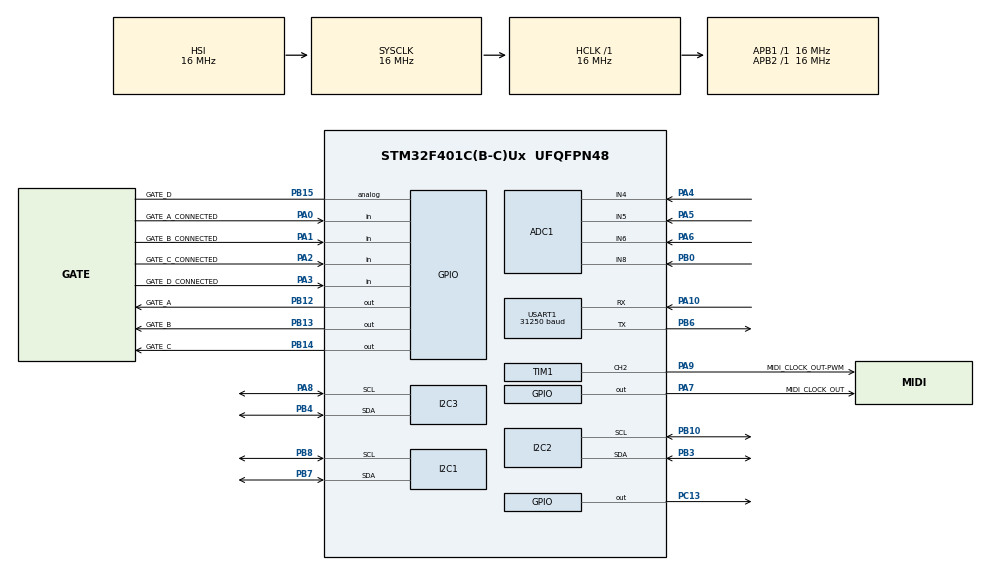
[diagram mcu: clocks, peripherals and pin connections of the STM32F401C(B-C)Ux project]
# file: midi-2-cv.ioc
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ADC1.Channel-1\#ChannelRegularConversion=ADC_CHANNEL_4
ADC1.NbrOfConversionFlag=1
ADC1.Rank-1\#ChannelRegularConversion=1
ADC1.SamplingTime-1\#ChannelRegularConversion=ADC_SAMPLETIME_3CYCLES
ADC1.master=1
Mcu.Family=STM32F4
Mcu.Name=STM32F401C(B-C)Ux
Mcu.Package=UFQFPN48
NVIC.PriorityGroup=NVIC_PRIORITYGROUP_4
NVIC.USART1_IRQn=true\:0\:0\:false\:false\:true\:true\:true\:true
PA0-WKUP.GPIO_Label=GATE_A_CONNECTED
PA0-WKUP.Signal=GPIO_Input
PA1.GPIO_Label=GATE_B_CONNECTED
PA1.Signal=GPIO_Input
PA10.Mode=Asynchronous
PA10.Signal=USART1_RX
PA13.Mode=Serial_Wire
PA13.Signal=SYS_JTMS-SWDIO
PA14.Mode=Serial_Wire
PA14.Signal=SYS_JTCK-SWCLK
PA2.GPIO_Label=GATE_C_CONNECTED
PA2.Signal=GPIO_Input
PA3.GPIO_Label=GATE_D_CONNECTED
PA3.Signal=GPIO_Input
PA4.Signal=ADCx_IN4
PA5.Signal=ADCx_IN5
PA6.Signal=ADCx_IN6
PA7.GPIO_Label=MIDI_CLOCK_OUT
PA7.Signal=GPIO_Output
PA8.Mode=I2C
PA8.Signal=I2C3_SCL
PA9.GPIO_Label=MIDI_CLOCK_OUT-PWM
PA9.Signal=S_TIM1_CH2
PB0.Signal=ADCx_IN8
PB10.Mode=I2C
PB10.Signal=I2C2_SCL
PB12.GPIO_Label=GATE_A
PB12.Signal=GPIO_Output
PB13.GPIO_Label=GATE_B
PB13.Signal=GPIO_Output
PB14.GPIO_Label=GATE_C
PB14.Signal=GPIO_Output
PB15.GPIO_Label=GATE_D
PB15.Signal=GPIO_Analog
PB3.Mode=I2C
PB3.Signal=I2C2_SDA
PB4.Mode=I2C
PB4.Signal=I2C3_SDA
PB6.Mode=Asynchronous
PB6.Signal=USART1_TX
PB7.Mode=I2C
PB7.Signal=I2C1_SDA
PB8.Mode=I2C
PB8.Signal=I2C1_SCL
PC13-ANTI_TAMP.Signal=GPIO_Output
ProjectManager.HeapSize=0x200
ProjectManager.StackSize=0x400
ProjectManager.TargetToolchain=STM32CubeIDE
RCC.AHBFreq_Value=16000000
RCC.APB1Freq_Value=16000000
RCC.APB2Freq_Value=16000000
RCC.CortexFreq_Value=16000000
RCC.HSE_VALUE=25000000
RCC.HSI_VALUE=16000000
RCC.LSE_VALUE=32768
RCC.SYSCLKFreq_VALUE=16000000
RCC.VCOOutputFreq_Value=192000000
SH.ADCx_IN4.0=ADC1_IN4,IN4
SH.ADCx_IN5.0=ADC1_IN5,IN5
SH.ADCx_IN6.0=ADC1_IN6,IN6
SH.ADCx_IN8.0=ADC1_IN8,IN8
SH.S_TIM1_CH2.0=TIM1_CH2,PWM Generation2 CH2
TIM1.Channel-PWM\ Generation2\ CH2=TIM_CHANNEL_2
USART1.BaudRate=31250
USART1.Mode=MODE_RX
USART1.VirtualMode=VM_ASYNC
board=custom

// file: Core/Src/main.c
/* USER CODE BEGIN Header */
/**
  ******************************************************************************
  * @file           : main.c
  * @brief          : Main program body
  ******************************************************************************
  * @attention
  *
  * Copyright (c) 2024 STMicroelectronics.
  * All rights reserved.
  *
  * This software is licensed under terms that can be found in the LICENSE file
  * in the root directory of this software component.
  * If no LICENSE file comes with this software, it is provided AS-IS.
  *
  ******************************************************************************
  */
/* USER CODE END Header */
#include <stdbool.h>
#include "main.h"

/* USER CODE BEGIN Includes */
#include "mcp4728.h"
#include "notes.h"
#include "midi.h"
/* USER CODE END Includes */

ADC_HandleTypeDef hadc1;

I2C_HandleTypeDef hi2c1;
I2C_HandleTypeDef hi2c2;
I2C_HandleTypeDef hi2c3;

TIM_HandleTypeDef htim1;

UART_HandleTypeDef huart1;

/* USER CODE BEGIN PV */

uint8_t midi_received_buf;

/* USER CODE END PV */

void SystemClock_Config(void);

static void MX_GPIO_Init(void);

static void MX_ADC1_Init(void);

static void MX_I2C1_Init(void);

static void MX_USART1_UART_Init(void);

static void MX_I2C2_Init(void);

static void MX_I2C3_Init(void);

static void MX_TIM1_Init(void);

/* USER CODE BEGIN 0 */

volatile bool dataRdyFlag = false;
volatile bool rxIntErrorFlag = false;

void sendTrigger(uint16_t gatePin, uint32_t gateLength) {
    HAL_GPIO_WritePin(GATE_A_GPIO_Port, gatePin, GPIO_PIN_SET);
    HAL_Delay(gateLength);
    HAL_GPIO_WritePin(GATE_A_GPIO_Port, gatePin, GPIO_PIN_RESET);
}

void setNoteValue(uint8_t octave, uint8_t note) {
    uint16_t value = (octave * OCT_VALUE) + (note * (OCT_VALUE / 12));
    MCP4728_Write_Voltage(&hi2c1, MCP4728_CHANNEL_A, value);
}

void stepGateA(uint8_t octave, uint8_t note, uint32_t gateLength) {
    setNoteValue(octave, note);
    sendTrigger(GATE_A_Pin, gateLength);
}

uint8_t Rx_data[10];  //  creating a buffer of 10 bytes

void HAL_UART_RxCpltCallback(UART_HandleTypeDef *huart)
{
    if(huart->Instance == huart1.Instance)
    {

        GPIOC->ODR |= GPIO_PIN_9;
        midi_push_buffer(&midi_received_buf);
        HAL_UART_Receive_IT(&huart1, &midi_received_buf,1);
    }
}

void HAL_UART_TxCpltCallback(UART_HandleTypeDef *huart){
    if(huart->Instance == USART1)
    {
    }
}

/* USER CODE END 0 */

int main(void) {

    /* MCU Configuration--------------------------------------------------------*/

    /* Reset of all peripherals, Initializes the Flash interface and the Systick. */
    HAL_Init();

    /* Configure the system clock */
    SystemClock_Config();

    /* Initialize all configured peripherals */
    MX_GPIO_Init();
    MX_ADC1_Init();
    MX_I2C1_Init();
    MX_USART1_UART_Init();
    MX_I2C2_Init();
    MX_I2C3_Init();
    MX_TIM1_Init();
    /* USER CODE BEGIN 2 */

    // CV output
    MCP4728_Init(&hi2c1);

    // VEL output
    MCP4728_Init(&hi2c2);

    // MOD output
    MCP4728_Init(&hi2c3);

    // ensure interrupt will be called on next receive
    HAL_UART_Receive_IT(&huart1, &midi_received_buf, 1);

    // Init systsm
    midi_init();

    /* USER CODE END 2 */

    /* Infinite loop */
    while (1) {

        /* USER CODE BEGIN 3 */

        midi_run();
    }
    /* USER CODE END 3 */
}

void SystemClock_Config(void) {
    RCC_OscInitTypeDef RCC_OscInitStruct = {0};
    RCC_ClkInitTypeDef RCC_ClkInitStruct = {0};

    /** Configure the main internal regulator output voltage
    */
    __HAL_RCC_PWR_CLK_ENABLE();
    __HAL_PWR_VOLTAGESCALING_CONFIG(PWR_REGULATOR_VOLTAGE_SCALE2);

    /** Initializes the RCC Oscillators according to the specified parameters
    * in the RCC_OscInitTypeDef structure.
    */
    RCC_OscInitStruct.OscillatorType = RCC_OSCILLATORTYPE_HSI;
    RCC_OscInitStruct.HSIState = RCC_HSI_ON;
    RCC_OscInitStruct.HSICalibrationValue = RCC_HSICALIBRATION_DEFAULT;
    RCC_OscInitStruct.PLL.PLLState = RCC_PLL_NONE;
    if (HAL_RCC_OscConfig(&RCC_OscInitStruct) != HAL_OK) {
        Error_Handler();
    }

    /** Initializes the CPU, AHB and APB buses clocks
    */
    RCC_ClkInitStruct.ClockType = RCC_CLOCKTYPE_HCLK | RCC_CLOCKTYPE_SYSCLK
                                  | RCC_CLOCKTYPE_PCLK1 | RCC_CLOCKTYPE_PCLK2;
    RCC_ClkInitStruct.SYSCLKSource = RCC_SYSCLKSOURCE_HSI;
    RCC_ClkInitStruct.AHBCLKDivider = RCC_SYSCLK_DIV1;
    RCC_ClkInitStruct.APB1CLKDivider = RCC_HCLK_DIV1;
    RCC_ClkInitStruct.APB2CLKDivider = RCC_HCLK_DIV1;

    if (HAL_RCC_ClockConfig(&RCC_ClkInitStruct, FLASH_LATENCY_0) != HAL_OK) {
        Error_Handler();
    }
}

static void MX_ADC1_Init(void) {

    ADC_ChannelConfTypeDef sConfig = {0};

    /** Configure the global features of the ADC (Clock, Resolution, Data Alignment and number of conversion)
    */
    hadc1.Instance = ADC1;
    hadc1.Init.ClockPrescaler = ADC_CLOCK_SYNC_PCLK_DIV2;
    hadc1.Init.Resolution = ADC_RESOLUTION_12B;
    hadc1.Init.ScanConvMode = DISABLE;
    hadc1.Init.ContinuousConvMode = DISABLE;
    hadc1.Init.DiscontinuousConvMode = DISABLE;
    hadc1.Init.ExternalTrigConvEdge = ADC_EXTERNALTRIGCONVEDGE_NONE;
    hadc1.Init.ExternalTrigConv = ADC_SOFTWARE_START;
    hadc1.Init.DataAlign = ADC_DATAALIGN_RIGHT;
    hadc1.Init.NbrOfConversion = 1;
    hadc1.Init.DMAContinuousRequests = DISABLE;
    hadc1.Init.EOCSelection = ADC_EOC_SINGLE_CONV;
    if (HAL_ADC_Init(&hadc1) != HAL_OK) {
        Error_Handler();
    }

    /** Configure for the selected ADC regular channel its corresponding rank in the sequencer and its sample time.
    */
    sConfig.Channel = ADC_CHANNEL_4;
    sConfig.Rank = 1;
    sConfig.SamplingTime = ADC_SAMPLETIME_3CYCLES;
    if (HAL_ADC_ConfigChannel(&hadc1, &sConfig) != HAL_OK) {
        Error_Handler();
    }

}

static void MX_I2C1_Init(void) {

    hi2c1.Instance = I2C1;
    hi2c1.Init.ClockSpeed = 100000;
    hi2c1.Init.DutyCycle = I2C_DUTYCYCLE_2;
    hi2c1.Init.OwnAddress1 = 0;
    hi2c1.Init.AddressingMode = I2C_ADDRESSINGMODE_7BIT;
    hi2c1.Init.DualAddressMode = I2C_DUALADDRESS_DISABLE;
    hi2c1.Init.OwnAddress2 = 0;
    hi2c1.Init.GeneralCallMode = I2C_GENERALCALL_DISABLE;
    hi2c1.Init.NoStretchMode = I2C_NOSTRETCH_DISABLE;
    if (HAL_I2C_Init(&hi2c1) != HAL_OK) {
        Error_Handler();
    }

}

static void MX_I2C2_Init(void) {

    hi2c2.Instance = I2C2;
    hi2c2.Init.ClockSpeed = 100000;
    hi2c2.Init.DutyCycle = I2C_DUTYCYCLE_2;
    hi2c2.Init.OwnAddress1 = 0;
    hi2c2.Init.AddressingMode = I2C_ADDRESSINGMODE_7BIT;
    hi2c2.Init.DualAddressMode = I2C_DUALADDRESS_DISABLE;
    hi2c2.Init.OwnAddress2 = 0;
    hi2c2.Init.GeneralCallMode = I2C_GENERALCALL_DISABLE;
    hi2c2.Init.NoStretchMode = I2C_NOSTRETCH_DISABLE;
    if (HAL_I2C_Init(&hi2c2) != HAL_OK) {
        Error_Handler();
    }

}

static void MX_I2C3_Init(void) {

    hi2c3.Instance = I2C3;
    hi2c3.Init.ClockSpeed = 100000;
    hi2c3.Init.DutyCycle = I2C_DUTYCYCLE_2;
    hi2c3.Init.OwnAddress1 = 0;
    hi2c3.Init.AddressingMode = I2C_ADDRESSINGMODE_7BIT;
    hi2c3.Init.DualAddressMode = I2C_DUALADDRESS_DISABLE;
    hi2c3.Init.OwnAddress2 = 0;
    hi2c3.Init.GeneralCallMode = I2C_GENERALCALL_DISABLE;
    hi2c3.Init.NoStretchMode = I2C_NOSTRETCH_DISABLE;
    if (HAL_I2C_Init(&hi2c3) != HAL_OK) {
        Error_Handler();
    }

}

static void MX_TIM1_Init(void) {

    TIM_MasterConfigTypeDef sMasterConfig = {0};
    TIM_OC_InitTypeDef sConfigOC = {0};
    TIM_BreakDeadTimeConfigTypeDef sBreakDeadTimeConfig = {0};

    htim1.Instance = TIM1;
    htim1.Init.Prescaler = 0;
    htim1.Init.CounterMode = TIM_COUNTERMODE_UP;
    htim1.Init.Period = 65535;
    htim1.Init.ClockDivision = TIM_CLOCKDIVISION_DIV1;
    htim1.Init.RepetitionCounter = 0;
    htim1.Init.AutoReloadPreload = TIM_AUTORELOAD_PRELOAD_DISABLE;
    if (HAL_TIM_PWM_Init(&htim1) != HAL_OK) {
        Error_Handler();
    }
    sMasterConfig.MasterOutputTrigger = TIM_TRGO_RESET;
    sMasterConfig.MasterSlaveMode = TIM_MASTERSLAVEMODE_DISABLE;
    if (HAL_TIMEx_MasterConfigSynchronization(&htim1, &sMasterConfig) != HAL_OK) {
        Error_Handler();
    }
    sConfigOC.OCMode = TIM_OCMODE_PWM1;
    sConfigOC.Pulse = 0;
    sConfigOC.OCPolarity = TIM_OCPOLARITY_HIGH;
    sConfigOC.OCNPolarity = TIM_OCNPOLARITY_HIGH;
    sConfigOC.OCFastMode = TIM_OCFAST_DISABLE;
    sConfigOC.OCIdleState = TIM_OCIDLESTATE_RESET;
    sConfigOC.OCNIdleState = TIM_OCNIDLESTATE_RESET;
    if (HAL_TIM_PWM_ConfigChannel(&htim1, &sConfigOC, TIM_CHANNEL_2) != HAL_OK) {
        Error_Handler();
    }
    sBreakDeadTimeConfig.OffStateRunMode = TIM_OSSR_DISABLE;
    sBreakDeadTimeConfig.OffStateIDLEMode = TIM_OSSI_DISABLE;
    sBreakDeadTimeConfig.LockLevel = TIM_LOCKLEVEL_OFF;
    sBreakDeadTimeConfig.DeadTime = 0;
    sBreakDeadTimeConfig.BreakState = TIM_BREAK_DISABLE;
    sBreakDeadTimeConfig.BreakPolarity = TIM_BREAKPOLARITY_HIGH;
    sBreakDeadTimeConfig.AutomaticOutput = TIM_AUTOMATICOUTPUT_DISABLE;
    if (HAL_TIMEx_ConfigBreakDeadTime(&htim1, &sBreakDeadTimeConfig) != HAL_OK) {
        Error_Handler();
    }
    HAL_TIM_MspPostInit(&htim1);

}

static void MX_USART1_UART_Init(void) {

    huart1.Instance = USART1;
    huart1.Init.BaudRate = 31250;
    huart1.Init.WordLength = UART_WORDLENGTH_8B;
    huart1.Init.StopBits = UART_STOPBITS_1;
    huart1.Init.Parity = UART_PARITY_NONE;
    huart1.Init.Mode = UART_MODE_RX;
    huart1.Init.HwFlowCtl = UART_HWCONTROL_NONE;
    huart1.Init.OverSampling = UART_OVERSAMPLING_16;
    if (HAL_UART_Init(&huart1) != HAL_OK) {
        Error_Handler();
    }

}

static void MX_GPIO_Init(void) {
    GPIO_InitTypeDef GPIO_InitStruct = {0};

    /* GPIO Ports Clock Enable */
    __HAL_RCC_GPIOC_CLK_ENABLE();
    __HAL_RCC_GPIOA_CLK_ENABLE();
    __HAL_RCC_GPIOB_CLK_ENABLE();

    /*Configure GPIO pin Output Level */
    HAL_GPIO_WritePin(GPIOC, GPIO_PIN_13, GPIO_PIN_RESET);

    /*Configure GPIO pin Output Level */
    HAL_GPIO_WritePin(MIDI_CLOCK_OUT_GPIO_Port, MIDI_CLOCK_OUT_Pin, GPIO_PIN_RESET);

    /*Configure GPIO pin Output Level */
    HAL_GPIO_WritePin(GPIOB, GATE_A_Pin | GATE_B_Pin | GATE_C_Pin, GPIO_PIN_RESET);

    /*Configure GPIO pin : PC13 */
    GPIO_InitStruct.Pin = GPIO_PIN_13;
    GPIO_InitStruct.Mode = GPIO_MODE_OUTPUT_PP;
    GPIO_InitStruct.Pull = GPIO_NOPULL;
    GPIO_InitStruct.Speed = GPIO_SPEED_FREQ_LOW;
    HAL_GPIO_Init(GPIOC, &GPIO_InitStruct);

    /*Configure GPIO pins : GATE_A_CONNECTED_Pin GATE_B_CONNECTED_Pin GATE_C_CONNECTED_Pin GATE_D_CONNECTED_Pin */
    GPIO_InitStruct.Pin = GATE_A_CONNECTED_Pin | GATE_B_CONNECTED_Pin | GATE_C_CONNECTED_Pin | GATE_D_CONNECTED_Pin;
    GPIO_InitStruct.Mode = GPIO_MODE_INPUT;
    GPIO_InitStruct.Pull = GPIO_NOPULL;
    HAL_GPIO_Init(GPIOA, &GPIO_InitStruct);

    /*Configure GPIO pin : MIDI_CLOCK_OUT_Pin */
    GPIO_InitStruct.Pin = MIDI_CLOCK_OUT_Pin;
    GPIO_InitStruct.Mode = GPIO_MODE_OUTPUT_PP;
    GPIO_InitStruct.Pull = GPIO_NOPULL;
    GPIO_InitStruct.Speed = GPIO_SPEED_FREQ_LOW;
    HAL_GPIO_Init(MIDI_CLOCK_OUT_GPIO_Port, &GPIO_InitStruct);

    /*Configure GPIO pins : GATE_A_Pin GATE_B_Pin GATE_C_Pin */
    GPIO_InitStruct.Pin = GATE_A_Pin | GATE_B_Pin | GATE_C_Pin;
    GPIO_InitStruct.Mode = GPIO_MODE_OUTPUT_PP;
    GPIO_InitStruct.Pull = GPIO_NOPULL;
    GPIO_InitStruct.Speed = GPIO_SPEED_FREQ_LOW;
    HAL_GPIO_Init(GPIOB, &GPIO_InitStruct);

    /*Configure GPIO pin : GATE_D_Pin */
    GPIO_InitStruct.Pin = GATE_D_Pin;
    GPIO_InitStruct.Mode = GPIO_MODE_ANALOG;
    GPIO_InitStruct.Pull = GPIO_NOPULL;
    HAL_GPIO_Init(GATE_D_GPIO_Port, &GPIO_InitStruct);

}

void Error_Handler(void) {
    __disable_irq();
    while (1) {
    }
}
